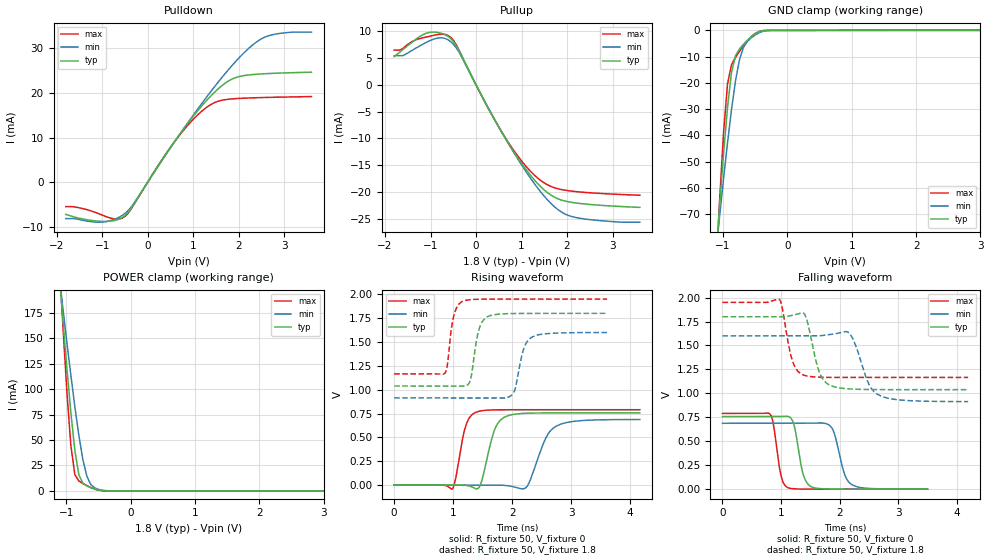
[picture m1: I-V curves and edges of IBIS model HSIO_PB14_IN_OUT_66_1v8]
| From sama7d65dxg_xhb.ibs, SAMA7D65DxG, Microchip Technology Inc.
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|   Model   HSIO_PB14_IN_OUT_66
[Model] HSIO_PB14_IN_OUT_66_1v8
Model_type I/O
Enable   Active-High
Vinl  =  0.54
Vinh  =  1.26
Vmeas =  0.900
| Capacitance   typ   min   max
C_comp   1.16281491828471e-12   1.110744334024137e-12   1.232807086709059e-12
| Variables   typ   min   max
[GND Clamp Reference]   0   0   0
[POWER Clamp Reference]   1.8   1.6   1.95
[Pulldown Reference]   0   0   0
[Pullup Reference]   1.8   1.6   1.95
[Temperature Range]   25   125   -40
[Voltage Range]   1.8   1.6   1.95
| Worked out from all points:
|   slope of the pulldown table from 0 to 0.27 V, typ, clamps not added: 63.1 ohm
|   slope of the pullup table from 0 to 0.27 V, typ, clamps not added: 61.8 ohm
|   GND clamp passes 1 mA (typ) near -0.48 V on its own axis
|   POWER clamp passes 1 mA (typ) near -0.51 V on its own axis
|   falling waveform, R_fixture 50, V_fixture 0: 20-80 % time 135ps typ, 172ps min, 112ps max; typ from 0.758 V to 0.001 V
|   falling waveform, R_fixture 50, V_fixture 1.8: 20-80 % time 187ps typ, 248ps min, 154ps max; typ from 1.8 V to 1.04 V
|   rising waveform, R_fixture 50, V_fixture 0: 20-80 % time 192ps typ, 267ps min, 151ps max; typ from 0 V to 0.757 V
|   rising waveform, R_fixture 50, V_fixture 1.8: 20-80 % time 125ps typ, 151ps min, 105ps max; typ from 1.04 V to 1.8 V
[GND Clamp]
| Voltage   I(typ)   I(min)   I(max)
-1.8V     -342.3mA   -209.2mA   -383.3mA
-1.117V   -88.41mA   -86.17mA   -95.58mA
-1.055V   -67.24mA   -71.21mA   -65.53mA
-993.1mV  -47.21mA   -56.7mA    -39.17mA
-931mV    -29.36mA   -42.92mA   -20.44mA
-869mV    -16.03mA   -30.19mA   -13.06mA
-806.9mV  -9.642mA   -19.24mA   -10.33mA
-744.8mV  -7.096mA   -11.16mA   -8.045mA
-682.8mV  -5.304mA   -6.514mA   -5.914mA
-496.6mV  -1.217mA   -1.697mA   -1.105mA
-248.3mV  -21.53uA   -36.43uA   -27.1uA
3.6V      0A         0A         0A
[POWER Clamp]
| Voltage   I(typ)   I(min)   I(max)
-1.8V     802.5mA    491.9mA    900.5mA
-1.117V   217.9mA    214.2mA    234.3mA
-1.055V   168.5mA    179.9mA    163.3mA
-993.1mV  121.1mA    146.2mA    97.89mA
-931mV    77.15mA    113.8mA    44.83mA
-869mV    39.82mA    82.92mA    16.06mA
-806.9mV  15.89mA    54.71mA    9.825mA
-744.8mV  7.576mA    31.01mA    7.34mA
-682.8mV  4.957mA    14.53mA    5.181mA
-558.6mV  1.859mA    2.935mA    1.718mA
-372.4mV  36.98uA    212.4uA    18.99uA
3.6V      0A         0A         0A
[Pulldown]
| Voltage   I(typ)   I(min)   I(max)
-1.8V     -7.188mA   -8.123mA   -5.449mA
-993.1mV  -8.754mA   -8.903mA   -7.367mA
-682.8mV  -8.433mA   -8.086mA   -8.241mA
-496.6mV  -7.442mA   -6.95mA    -7.628mA
-310.3mV  -5.006mA   -4.803mA   -5.118mA
620.7mV   9.553mA    9.474mA    9.464mA
993.1mV   14.65mA    14.88mA    13.99mA
1.366V    19.06mA    19.99mA    17.23mA
1.862V    23.1mA     26.18mA    18.63mA
2.483V    24.2mA     31.96mA    18.92mA
2.917V    24.41mA    33.28mA    19.02mA
3.6V      24.6mA     33.56mA    19.16mA
[Pullup]
| Voltage   I(typ)   I(min)   I(max)
-1.8V     5.267mA    5.45mA     6.499mA
-1.614V   6.543mA    5.45mA     6.762mA
-1.117V   9.564mA    7.826mA    8.881mA
-806.9mV  9.722mA    8.776mA    9.446mA
-620.7mV  9.072mA    8.44mA     9.237mA
-372.4mV  6.317mA    6.072mA    6.437mA
620.7mV   -9.634mA   -9.632mA   -9.55mA
993.1mV   -14.56mA   -14.84mA   -14.12mA
1.366V    -18.52mA   -19.38mA   -17.47mA
1.738V    -21.02mA   -22.85mA   -19.24mA
2.048V    -21.85mA   -24.43mA   -19.78mA
3.6V      -22.87mA   -25.63mA   -20.6mA
[Ramp]
dV/dt_r   0.454668/0.191897n  0.412782/0.267827n  0.474374/0.151333n
dV/dt_f   0.456811/0.187717n  0.412033/0.248068n  0.470445/0.154679n
R_load = 50
[Falling Waveform]
R_fixture = 50
V_fixture = 0
V_fixture_min = 0
V_fixture_max = 0
| Time   V(typ)   V(min)   V(max)
0s        757.8mV    688mV      790.6mV
814ps     758.2mV    688.4mV    782.4mV
1.002ns   758.8mV    688.5mV    136.9mV
1.142ns   754.6mV    688.6mV    10.42mV
1.229ns   653.8mV    688.6mV    3.912mV
1.38ns    152.7mV    688.7mV    1.224mV
1.522ns   22.68mV    688.8mV    885.7uV
1.868ns   1.921mV    639.1mV    260.2uV
2.205ns   909.6uV    49.89mV    243.1uV
3.502ns   906.3uV    487.2uV    242.3uV
[Falling Waveform]
R_fixture = 50
V_fixture = 1.8
V_fixture_min = 1.6
V_fixture_max = 1.95
| Time   V(typ)   V(min)   V(max)
0s        1.8V       1.6V       1.95V
967.1ps   1.799V     1.6V       1.983V
1.203ns   1.817V     1.601V     1.326V
1.391ns   1.835V     1.601V     1.19V
1.658ns   1.215V     1.601V     1.169V
1.829ns   1.087V     1.614V     1.167V
2.174ns   1.046V     1.624V     1.167V
2.51ns    1.04V      1.085V     1.167V
2.651ns   1.04V      988.8mV    1.167V
4.196ns   1.039V     914mV      1.167V
[Rising Waveform]
R_fixture = 50
V_fixture = 0
V_fixture_min = 0
V_fixture_max = 0
| Time   V(typ)   V(min)   V(max)
0s        1.526nV    260.2nV    41.99pV
983ps     819.7uV    -490.8uV   -41.38mV
1.224ns   -3.2mV     -611.1uV   640.8mV
1.422ns   -34.24mV   -710.3uV   771.2mV
1.685ns   550.9mV    -841.3uV   788.7mV
1.862ns   710.1mV    -2.294mV   790.1mV
2.236ns   753.1mV    -25.35mV   790.1mV
2.567ns   756.8mV    490.7mV    790.1mV
2.749ns   756.8mV    618.9mV    790.1mV
4.163ns   757.2mV    687.5mV    790.1mV
[Rising Waveform]
R_fixture = 50
V_fixture = 1.8
V_fixture_min = 1.6
V_fixture_max = 1.95
| Time   V(typ)   V(min)   V(max)
0s        1.039V     913.3mV    1.166V
857.9ps   1.038V     912.8mV    1.171V
1.011ns   1.038V     912.7mV    1.773V
1.171ns   1.036V     912.6mV    1.929V
1.289ns   1.097V     912.6mV    1.944V
1.428ns   1.611V     912.5mV    1.948V
1.576ns   1.764V     912.4mV    1.949V
2.008ns   1.798V     954.5mV    1.949V
2.343ns   1.8V       1.553V     1.949V
3.608ns   1.8V       1.599V     1.95V
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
